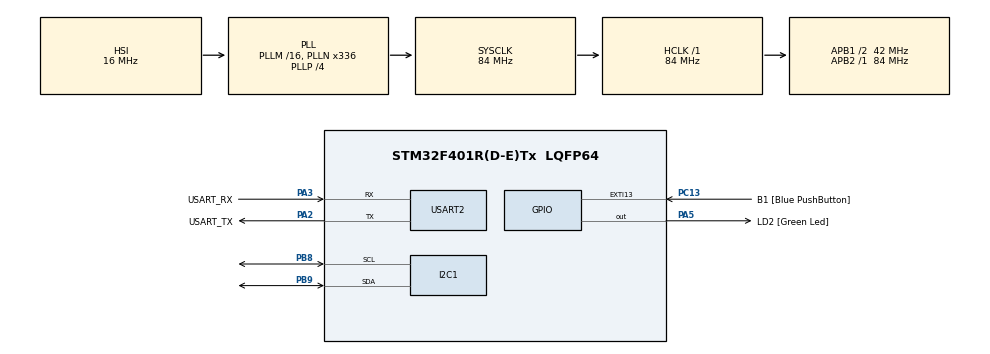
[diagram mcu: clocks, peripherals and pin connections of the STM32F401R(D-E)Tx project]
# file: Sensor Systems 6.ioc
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Mcu.Family=STM32F4
Mcu.Name=STM32F401R(D-E)Tx
Mcu.Package=LQFP64
NVIC.PriorityGroup=NVIC_PRIORITYGROUP_0
PA13.GPIO_Label=TMS
PA13.Mode=Serial_Wire
PA13.Signal=SYS_JTMS-SWDIO
PA14.GPIO_Label=TCK
PA14.Mode=Serial_Wire
PA14.Signal=SYS_JTCK-SWCLK
PA2.GPIO_Label=USART_TX
PA2.GPIO_Mode=GPIO_MODE_AF_PP
PA2.GPIO_PuPd=GPIO_NOPULL
PA2.GPIO_Speed=GPIO_SPEED_FREQ_LOW
PA2.Mode=Asynchronous
PA2.Signal=USART2_TX
PA3.GPIO_Label=USART_RX
PA3.GPIO_Mode=GPIO_MODE_AF_PP
PA3.GPIO_PuPd=GPIO_NOPULL
PA3.GPIO_Speed=GPIO_SPEED_FREQ_LOW
PA3.Mode=Asynchronous
PA3.Signal=USART2_RX
PA5.GPIO_Label=LD2 [Green Led]
PA5.GPIO_Mode=GPIO_MODE_OUTPUT_PP
PA5.GPIO_PuPd=GPIO_NOPULL
PA5.GPIO_Speed=GPIO_SPEED_FREQ_LOW
PA5.Signal=GPIO_Output
PB3.GPIO_Label=SWO
PB3.Signal=SYS_JTDO-SWO
PB8.Mode=I2C
PB8.Signal=I2C1_SCL
PB9.Mode=I2C
PB9.Signal=I2C1_SDA
PC13-ANTI_TAMP.GPIO_Label=B1 [Blue PushButton]
PC13-ANTI_TAMP.GPIO_ModeDefaultEXTI=GPIO_MODE_IT_FALLING
PC13-ANTI_TAMP.GPIO_PuPd=GPIO_NOPULL
PC13-ANTI_TAMP.Signal=GPXTI13
PC14-OSC32_IN.Mode=LSE-External-Oscillator
PC14-OSC32_IN.Signal=RCC_OSC32_IN
PC15-OSC32_OUT.Mode=LSE-External-Oscillator
PC15-OSC32_OUT.Signal=RCC_OSC32_OUT
PH0\ -\ OSC_IN.Mode=HSE-External-Clock-Source
PH0\ -\ OSC_IN.Signal=RCC_OSC_IN
PH1\ -\ OSC_OUT.Mode=HSE-External-Clock-Source
PH1\ -\ OSC_OUT.Signal=RCC_OSC_OUT
ProjectManager.HeapSize=0x200
ProjectManager.StackSize=0x400
ProjectManager.TargetToolchain=STM32CubeIDE
RCC.48MHZClocksFreq_Value=48000000
RCC.AHBFreq_Value=84000000
RCC.APB1CLKDivider=RCC_HCLK_DIV2
RCC.APB1Freq_Value=42000000
RCC.APB1TimFreq_Value=84000000
RCC.APB2Freq_Value=84000000
RCC.APB2TimFreq_Value=84000000
RCC.CortexFreq_Value=84000000
RCC.HCLKFreq_Value=84000000
RCC.HSE_VALUE=8000000
RCC.HSI_VALUE=16000000
RCC.PLLN=336
RCC.PLLP=RCC_PLLP_DIV4
RCC.PLLQ=7
RCC.SYSCLKFreq_VALUE=84000000
RCC.SYSCLKSource=RCC_SYSCLKSOURCE_PLLCLK
RCC.VCOOutputFreq_Value=336000000
USART2.VirtualMode=VM_ASYNC
board=NUCLEO-F401RE

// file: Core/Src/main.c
/* USER CODE BEGIN Header */
/**
  ******************************************************************************
  * @file           : main.c
  * @brief          : Main program body
  ******************************************************************************
  * @attention
  *
  * Copyright (c) 2023 STMicroelectronics.
  * All rights reserved.
  *
  * This software is licensed under terms that can be found in the LICENSE file
  * in the root directory of this software component.
  * If no LICENSE file comes with this software, it is provided AS-IS.
  *
  ******************************************************************************
  */
/* USER CODE END Header */
#include "main.h"

I2C_HandleTypeDef hi2c1;

UART_HandleTypeDef huart2;

/* USER CODE BEGIN PV */
uint8_t ACCEL_ADD=0b01010000;
uint8_t LIS2DE12_ADD= 0b00110000;
uint8_t CTRL_REG1[]={0x20,0b00010111};
uint8_t CTRL_REG2[]={0x21,0b00000000};
uint8_t CTRL_REG4[]={0x23,0b00000000};
uint8_t OUT_X_ADD=0x29;
uint8_t OUT_Y_ADD=0x2B;
uint8_t OUT_Z_ADD=0x2D;

/* USER CODE END PV */

void SystemClock_Config(void);
static void MX_GPIO_Init(void);
static void MX_USART2_UART_Init(void);
static void MX_I2C1_Init(void);

int main(void)
{

  /* MCU Configuration--------------------------------------------------------*/

  /* Reset of all peripherals, Initializes the Flash interface and the Systick. */
  HAL_Init();

  /* Configure the system clock */
  SystemClock_Config();

  /* Initialize all configured peripherals */
  MX_GPIO_Init();
  MX_USART2_UART_Init();
  MX_I2C1_Init();
  /* USER CODE BEGIN 2 */
  char str[64];
  int len=0;

  if(HAL_I2C_Master_Transmit(&hi2c1, ACCEL_ADD, CTRL_REG1, sizeof(CTRL_REG1), 50)== HAL_OK){
	  len=snprintf(str, sizeof(str), "LIS2DE found\r\n");
  }else{
	  ACCEL_ADD=LIS2DE12_ADD;
	  if(HAL_I2C_Master_Transmit(&hi2c1, ACCEL_ADD, CTRL_REG1, sizeof(CTRL_REG1), 50)== HAL_OK){
	  	  len=snprintf(str, sizeof(str), "LIS2DE12 found\r\n");
	    }else{
	    	len=snprintf(str, sizeof(str), "ERROR \r\n");
	    }
  }
  HAL_UART_Transmit(&huart2, str, len, 100);
  HAL_I2C_Master_Transmit(&hi2c1, ACCEL_ADD, CTRL_REG2, sizeof(CTRL_REG2), 50);
  HAL_I2C_Master_Transmit(&hi2c1, ACCEL_ADD, CTRL_REG4, sizeof(CTRL_REG4), 50);

  /* USER CODE END 2 */

  /* Infinite loop */
  /* USER CODE BEGIN WHILE */
  while (1)
  {
	  uint8_t acc_x=0;
	  HAL_I2C_Master_Transmit(&hi2c1, ACCEL_ADD, &OUT_X_ADD, 1, 50);
	  HAL_I2C_Master_Receive(&hi2c1, ACCEL_ADD+1, &acc_x, 1,50);

	  uint8_t acc_y=0;
	  HAL_I2C_Master_Transmit(&hi2c1, ACCEL_ADD, &OUT_Y_ADD, 1, 50);
	  HAL_I2C_Master_Receive(&hi2c1, ACCEL_ADD+1, &acc_y, 1,50);

	  uint8_t acc_z=0;
	  HAL_I2C_Master_Transmit(&hi2c1, ACCEL_ADD, &OUT_Z_ADD, 1, 50);
	  HAL_I2C_Master_Receive(&hi2c1, ACCEL_ADD+1, &acc_z, 1,50);

	  float acc_g_x=acc_x/64.0;
	  float acc_g_y=acc_y/64.0;
	  float acc_g_z=acc_z/64.0;

	  len=snprintf(str, sizeof(str), "X:%+.2f g, Y:%+.2f g, Z:%+.2f g\r\n", acc_g_x,acc_g_y,acc_g_z);
	  HAL_UART_Transmit(&huart2, str, len, 100);
	  HAL_Delay(1000);
    /* USER CODE END WHILE */

  }
}

void SystemClock_Config(void)
{
  RCC_OscInitTypeDef RCC_OscInitStruct = {0};
  RCC_ClkInitTypeDef RCC_ClkInitStruct = {0};

  /** Configure the main internal regulator output voltage
  */
  __HAL_RCC_PWR_CLK_ENABLE();
  __HAL_PWR_VOLTAGESCALING_CONFIG(PWR_REGULATOR_VOLTAGE_SCALE2);

  /** Initializes the RCC Oscillators according to the specified parameters
  * in the RCC_OscInitTypeDef structure.
  */
  RCC_OscInitStruct.OscillatorType = RCC_OSCILLATORTYPE_HSI;
  RCC_OscInitStruct.HSIState = RCC_HSI_ON;
  RCC_OscInitStruct.HSICalibrationValue = RCC_HSICALIBRATION_DEFAULT;
  RCC_OscInitStruct.PLL.PLLState = RCC_PLL_ON;
  RCC_OscInitStruct.PLL.PLLSource = RCC_PLLSOURCE_HSI;
  RCC_OscInitStruct.PLL.PLLM = 16;
  RCC_OscInitStruct.PLL.PLLN = 336;
  RCC_OscInitStruct.PLL.PLLP = RCC_PLLP_DIV4;
  RCC_OscInitStruct.PLL.PLLQ = 7;
  if (HAL_RCC_OscConfig(&RCC_OscInitStruct) != HAL_OK)
  {
    Error_Handler();
  }

  /** Initializes the CPU, AHB and APB buses clocks
  */
  RCC_ClkInitStruct.ClockType = RCC_CLOCKTYPE_HCLK|RCC_CLOCKTYPE_SYSCLK
                              |RCC_CLOCKTYPE_PCLK1|RCC_CLOCKTYPE_PCLK2;
  RCC_ClkInitStruct.SYSCLKSource = RCC_SYSCLKSOURCE_PLLCLK;
  RCC_ClkInitStruct.AHBCLKDivider = RCC_SYSCLK_DIV1;
  RCC_ClkInitStruct.APB1CLKDivider = RCC_HCLK_DIV2;
  RCC_ClkInitStruct.APB2CLKDivider = RCC_HCLK_DIV1;

  if (HAL_RCC_ClockConfig(&RCC_ClkInitStruct, FLASH_LATENCY_2) != HAL_OK)
  {
    Error_Handler();
  }
}

static void MX_I2C1_Init(void)
{

  hi2c1.Instance = I2C1;
  hi2c1.Init.ClockSpeed = 100000;
  hi2c1.Init.DutyCycle = I2C_DUTYCYCLE_2;
  hi2c1.Init.OwnAddress1 = 0;
  hi2c1.Init.AddressingMode = I2C_ADDRESSINGMODE_7BIT;
  hi2c1.Init.DualAddressMode = I2C_DUALADDRESS_DISABLE;
  hi2c1.Init.OwnAddress2 = 0;
  hi2c1.Init.GeneralCallMode = I2C_GENERALCALL_DISABLE;
  hi2c1.Init.NoStretchMode = I2C_NOSTRETCH_DISABLE;
  if (HAL_I2C_Init(&hi2c1) != HAL_OK)
  {
    Error_Handler();
  }

}

static void MX_USART2_UART_Init(void)
{

  huart2.Instance = USART2;
  huart2.Init.BaudRate = 115200;
  huart2.Init.WordLength = UART_WORDLENGTH_8B;
  huart2.Init.StopBits = UART_STOPBITS_1;
  huart2.Init.Parity = UART_PARITY_NONE;
  huart2.Init.Mode = UART_MODE_TX_RX;
  huart2.Init.HwFlowCtl = UART_HWCONTROL_NONE;
  huart2.Init.OverSampling = UART_OVERSAMPLING_16;
  if (HAL_UART_Init(&huart2) != HAL_OK)
  {
    Error_Handler();
  }

}

static void MX_GPIO_Init(void)
{
  GPIO_InitTypeDef GPIO_InitStruct = {0};

  /* GPIO Ports Clock Enable */
  __HAL_RCC_GPIOC_CLK_ENABLE();
  __HAL_RCC_GPIOH_CLK_ENABLE();
  __HAL_RCC_GPIOA_CLK_ENABLE();
  __HAL_RCC_GPIOB_CLK_ENABLE();

  /*Configure GPIO pin Output Level */
  HAL_GPIO_WritePin(LD2_GPIO_Port, LD2_Pin, GPIO_PIN_RESET);

  /*Configure GPIO pin : B1_Pin */
  GPIO_InitStruct.Pin = B1_Pin;
  GPIO_InitStruct.Mode = GPIO_MODE_IT_FALLING;
  GPIO_InitStruct.Pull = GPIO_NOPULL;
  HAL_GPIO_Init(B1_GPIO_Port, &GPIO_InitStruct);

  /*Configure GPIO pin : LD2_Pin */
  GPIO_InitStruct.Pin = LD2_Pin;
  GPIO_InitStruct.Mode = GPIO_MODE_OUTPUT_PP;
  GPIO_InitStruct.Pull = GPIO_NOPULL;
  GPIO_InitStruct.Speed = GPIO_SPEED_FREQ_LOW;
  HAL_GPIO_Init(LD2_GPIO_Port, &GPIO_InitStruct);

}

void Error_Handler(void)
{
  __disable_irq();
  while (1)
  {
  }
}
